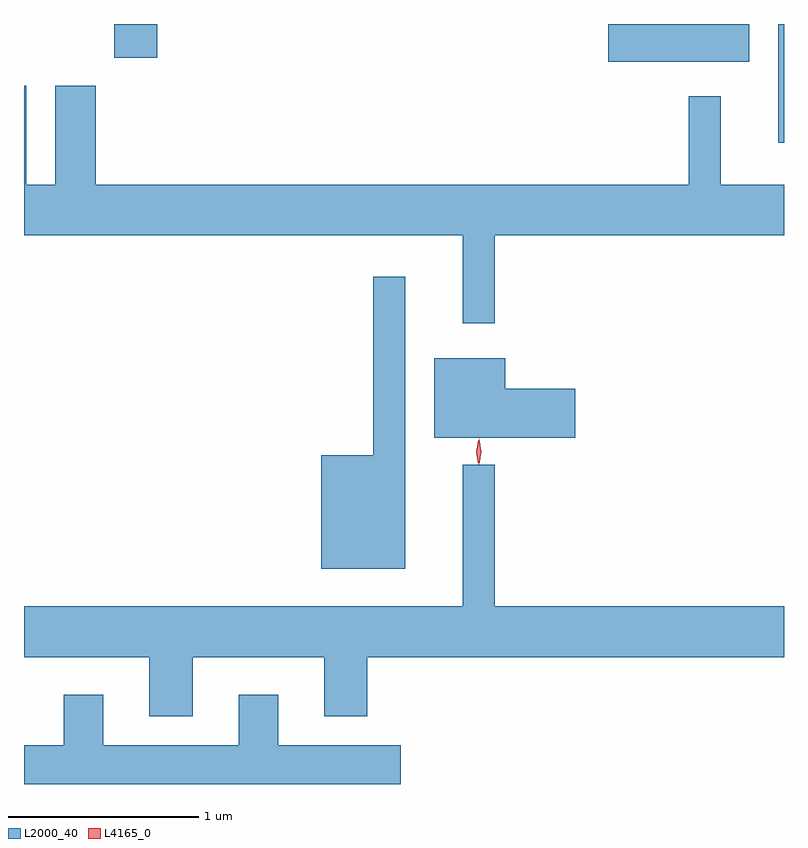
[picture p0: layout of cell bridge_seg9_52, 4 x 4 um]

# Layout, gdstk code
import gdstk
lib = gdstk.Library(unit=1e-6, precision=1e-09)
def R(c, l, rs):  # rectangles x0, y0, x1, y1
    for r in rs: c.add(gdstk.rectangle(r[:2], r[2:], *l))
def P(c, l, *ps):  # polygons
    for p in ps: c.add(gdstk.Polygon(p, *l))
L2000_40 = (2000, 40)
L4165_0 = (4165, 0)

bridge_seg9_52 = lib.new_cell('bridge_seg9_52')
R(bridge_seg9_52, L2000_40, [(1508.601,2014.503,1508.632,2015.129), (1507.706,2014.931,1508.449,2015.129), (1505.106,2014.951,1505.334,2015.129)])
P(bridge_seg9_52, L2000_40, [(1507.109,2014.016),(1508.632,2014.016),(1508.632,2014.284),(1508.299,2014.284),(1508.299,2014.748),(1508.131,2014.748),(1508.131,2014.284),(1505.009,2014.284),(1505.009,2014.804),(1504.796,2014.804),(1504.796,2014.284),(1504.644,2014.284),(1504.644,2014.804),(1504.632,2014.804),(1504.632,2014.016),(1506.941,2014.016),(1506.941,2013.553),(1507.109,2013.553)],
  [(1506.639,2013.798),(1506.471,2013.798),(1506.471,2012.859),(1506.196,2012.859),(1506.196,2012.261),(1506.639,2012.261)],
  [(1507.534,2013.209),(1507.164,2013.209),(1507.164,2013.369),(1506.791,2013.369),(1506.791,2012.951),(1507.534,2012.951)],
  [(1505.519,2011.796),(1506.211,2011.796),(1506.211,2011.486),(1506.439,2011.486),(1506.439,2011.796),(1508.632,2011.796),(1508.632,2012.064),(1507.109,2012.064),(1507.109,2012.808),(1506.941,2012.808),(1506.941,2012.064),(1504.632,2012.064),(1504.632,2011.796),(1505.291,2011.796),(1505.291,2011.486),(1505.519,2011.486)],
  [(1506.614,2011.334),(1505.969,2011.334),(1505.969,2011.599),(1505.761,2011.599),(1505.761,2011.334),(1505.049,2011.334),(1505.049,2011.599),(1504.841,2011.599),(1504.841,2011.334),(1504.632,2011.334),(1504.632,2011.129),(1506.614,2011.129)])
P(bridge_seg9_52, L4165_0, [(1507.023,2012.813),(1507.023,2012.813),(1507.013,2012.876),(1507.023,2012.939),(1507.023,2012.939),(1507.024,2012.939),(1507.033,2012.876),(1507.024,2012.813)],
  [(1507.027,2012.81),(1507.018,2012.877),(1507.027,2012.945),(1507.028,2012.945),(1507.028,2012.945),(1507.038,2012.877),(1507.028,2012.81),(1507.028,2012.81)])

lib.write_gds('bridge_seg9_52.gds')
